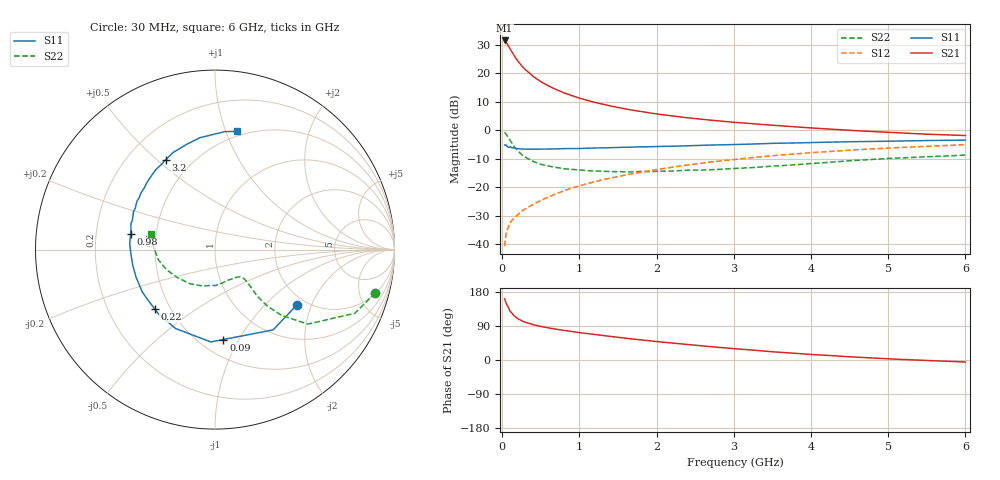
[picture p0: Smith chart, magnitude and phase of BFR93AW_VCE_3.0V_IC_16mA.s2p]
! Infineon Technologies  Discrete & RF Semiconductors
! BFR93AW
! VCE =  3.0 V,  IC =  16 mA
! Common Emitter S-Parameters:  Nov 2015
# GHz  S  MA  R  50
!  f  S11  S21  S12  S22
! GHz  MAG  ANG  MAG  ANG  MAG  ANG  MAG  ANG
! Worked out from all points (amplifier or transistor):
!   206 points, 30 MHz to 6 GHz, reference 50 ohm
!   highest |S21| = 31.4 dB at 30 MHz (marker M1)
!   |S21| within 3 dB of that: start of sweep to 103 MHz
!   unconditionally stable (mu >= 1): 581.8 MHz to 2.283 GHz
!   at 200 MHz: K = 0.65, MSG = 26.9 dB, |S12| = -29.6 dB
!   at 1.56 GHz: K = 1.05, MAG = 10.4 dB, |S12| = -15.9 dB
!   at 6 GHz: K = 0.92, MSG = 1.6 dB, |S12| = -5.1 dB
!   S11 on the Smith chart (normalised r, x): 30 MHz: 1.78, -1.58; 90 MHz: 0.64, -0.86; 220 MHz: 0.41, -0.35; 980 MHz: 0.36, +0.08; 3.2 GHz: 0.36, +0.53; 6 GHz: 0.46, +1.09
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0.03  0.5506 -34.1  37.35 161.2  0.0093 72.8  0.9252 -15.1
0.05  0.5522 -54.1  35 149.0  0.0156 68.7  0.856 -24.5
0.09  0.5032 -84.7  28.16 133.8  0.0221 60.9  0.6981 -35.3
0.1  0.515 -92.6  26.85 128.9  0.0238 59.6  0.6636 -38.7
0.15  0.4914 -116.6  20.48 116.7  0.0288 56.3  0.5229 -44.6
0.2  0.4771 -131.3  16.37 109.0  0.0331 56.1  0.4348 -47.1
0.22  0.4714 -135.6  15.2 107.1  0.0351 56.8  0.41 -47.3
0.26  0.4675 -143.7  13.06 102.8  0.0389 57.9  0.3653 -47.7
0.3  0.469 -149.8  11.45 99.4  0.0417 58.8  0.3353 -47.5
0.4  0.4658 -161.1  8.745 93.2  0.0503 61.9  0.2833 -46.1
0.5  0.4665 -169.2  7.085 88.5  0.059 64.0  0.2523 -45.4
0.6  0.4678 -174.5  5.945 84.6  0.0678 65.5  0.2347 -44.9
0.7  0.4711 -179.6  5.143 81.1  0.0773 67.0  0.2231 -45.4
0.98  0.4772 169.4  3.721 72.8  0.1042 68.3  0.2022 -48.7
1.04  0.48 167.5  3.519 71.2  0.1099 68.2  0.1988 -50.3
1.5  0.5005 155.3  2.493 59.8  0.1546 67.0  0.1886 -62.0
2.02  0.5192 142.5  1.914 48.2  0.2071 63.8  0.1915 -78.6
3.1  0.5647 120.7  1.344 28.5  0.3167 54.6  0.2162 -111.9
3.2  0.57 118.8  1.312 26.9  0.3267 53.5  0.2197 -115.6
4.1  0.611 103.5  1.075 13.5  0.4122 44.0  0.266 -146.4
5.1  0.6439 90.0  0.904 2.2  0.4937 33.0  0.3242 -172.8
6  0.6694 79.6  0.807 -5.3  0.5576 23.4  0.367 166.1
